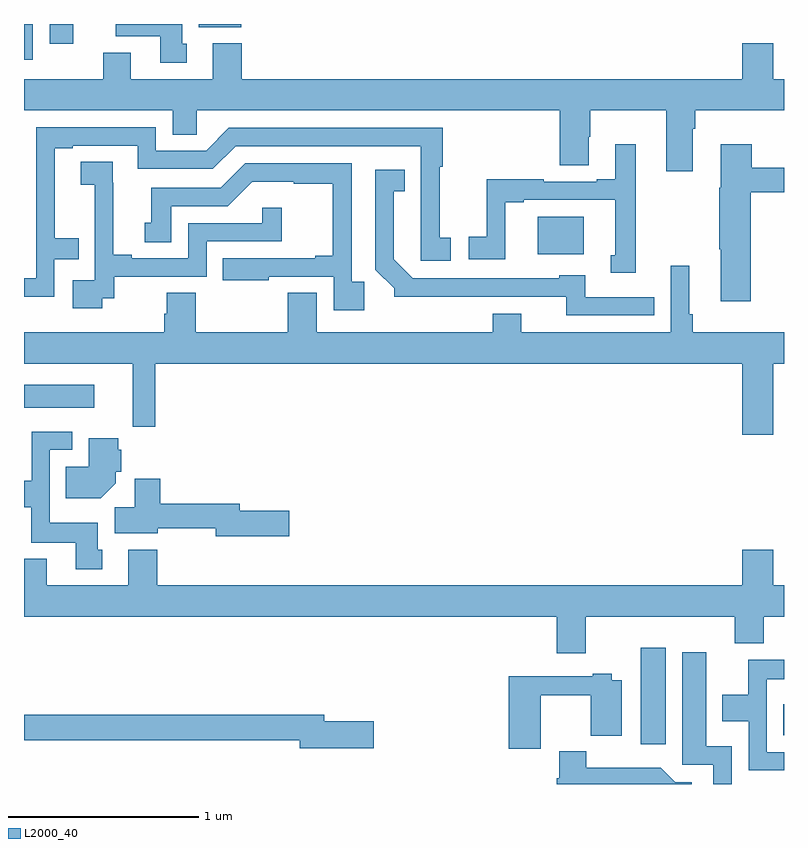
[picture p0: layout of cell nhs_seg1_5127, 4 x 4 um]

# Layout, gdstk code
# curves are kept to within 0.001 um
import gdstk
lib = gdstk.Library(unit=1e-6, precision=1e-09)
def R(c, l, rs):  # rectangles x0, y0, x1, y1
    for r in rs: c.add(gdstk.rectangle(r[:2], r[2:], *l))
def P(c, l, *ps):  # polygons
    for p in ps: c.add(gdstk.Polygon(p, *l))
L2000_40 = (2000, 40)

nhs_seg1_5127 = lib.new_cell('nhs_seg1_5127')
R(nhs_seg1_5127, L2000_40, [(392.246,536.409,392.377,536.917), (392.995,536.456,393,536.62), (389,538.178,389.371,538.3), (391.703,538.988,391.945,539.185), (389,540.012,389.047,540.199), (389.135,540.096,389.26,540.199), (389.921,540.182,390.144,540.199)])
P(nhs_seg1_5127, L2000_40, [(389.857,540.096),(389.833,540.096),(389.833,540.199),(389.482,540.199),(389.482,540.134),(389.717,540.134),(389.717,539.994),(389.857,539.994)],
  [(392.521,539.648),(392.534,539.648),(392.534,539.744),(393,539.744),(393,539.908),(392.944,539.908),(392.944,540.097),(392.78,540.097),(392.78,539.908),(390.146,539.908),(390.146,540.097),(389.993,540.097),(389.993,539.908),(389.563,539.908),(389.563,540.049),(389.416,540.049),(389.416,539.908),(389,539.908),(389,539.744),(389.783,539.744),(389.783,539.617),(389.91,539.617),(389.91,539.744),(391.82,539.744),(391.82,539.455),(391.972,539.455),(391.972,539.606),(391.98,539.606),(391.98,539.744),(392.381,539.744),(392.381,539.424),(392.521,539.424)],
  [(389.16,538.962),(389.288,538.962),(389.288,539.071),(389.161,539.071),(389.161,539.544),(389.257,539.544),(389.257,539.559),(389.598,539.559),(389.598,539.436),(389.994,539.436),(390.114,539.556),(391.089,539.556),(391.088,538.953),(391.246,538.953),(391.246,539.073),(391.188,539.073),(391.188,539.449),(391.205,539.449),(391.205,539.652),(390.078,539.652),(389.958,539.532),(389.694,539.532),(389.694,539.655),(389.064,539.655),(389.064,538.86),(389,538.86),(389,538.764),(389.16,538.764)],
  [(392.825,539.314),(393,539.314),(393,539.443),(392.83,539.443),(392.83,539.566),(392.666,539.566),(392.666,539.337),(392.659,539.337),(392.659,539.014),(392.666,539.014),(392.666,538.74),(392.825,538.74)],
  [(392.221,539.566),(392.111,539.566),(392.111,539.383),(392.015,539.383),(392.015,539.37),(391.736,539.37),(391.736,539.383),(391.435,539.383),(391.435,539.078),(391.341,539.078),(391.341,538.962),(391.534,538.962),(391.534,539.262),(391.63,539.262),(391.63,539.274),(392.111,539.274),(392.111,538.983),(392.087,538.983),(392.087,538.889),(392.221,538.889)],
  [(389.412,538.755),(389.474,538.755),(389.474,538.869),(389.961,538.869),(389.961,539.055),(390.356,539.055),(390.356,539.233),(390.255,539.233),(390.255,539.151),(389.865,539.151),(389.865,538.965),(389.566,538.965),(389.566,538.985),(389.47,538.985),(389.47,539.363),(389.468,539.363),(389.468,539.474),(389.298,539.474),(389.298,539.353),(389.372,539.353),(389.372,539.155),(389.373,539.155),(389.373,538.851),(389.256,538.851),(389.256,538.704),(389.412,538.704)],
  [(390.791,538.843),(390.726,538.843),(390.726,539.466),(390.165,539.466),(390.036,539.337),(389.669,539.337),(389.669,539.154),(389.636,539.154),(389.636,539.05),(389.776,539.05),(389.776,539.241),(390.072,539.241),(390.2,539.369),(390.419,539.369),(390.419,539.358),(390.625,539.358),(390.625,538.978),(390.533,538.978),(390.533,538.965),(390.046,538.965),(390.046,538.85),(390.289,538.85),(390.289,538.869),(390.63,538.869),(390.63,538.692),(390.791,538.692)],
  [(392.318,538.761),(391.954,538.761),(391.954,538.876),(391.818,538.876),(391.818,538.86),(391.047,538.86),(390.946,538.961),(390.946,539.318),(391.004,539.318),(391.004,539.431),(390.849,539.431),(390.849,538.906),(390.948,538.807),(390.948,538.763),(391.855,538.764),(391.855,538.665),(392.318,538.665)],
  [(392.944,538.412),(393,538.412),(393,538.576),(392.519,538.576),(392.519,538.672),(392.5,538.672),(392.5,538.927),(392.403,538.927),(392.403,538.576),(391.618,538.576),(391.618,538.675),(391.466,538.675),(391.466,538.576),(390.541,538.576),(390.541,538.784),(390.389,538.784),(390.389,538.576),(389.903,538.576),(389.903,538.784),(389.75,538.784),(389.75,538.674),(389.738,538.674),(389.738,538.576),(389,538.576),(389,538.412),(389.573,538.412),(389.573,538.08),(389.69,538.08),(389.69,538.412),(392.78,538.412),(392.78,538.038),(392.944,538.038)],
  [(389.413,537.432),(389.389,537.432),(389.389,537.574),(389.136,537.574),(389.136,537.957),(389.254,537.957),(389.254,538.053),(389.04,538.053),(389.04,537.796),(389,537.796),(389,537.656),(389.038,537.656),(389.038,537.47),(389.273,537.47),(389.273,537.33),(389.413,537.33)],
  [(389.482,537.782),(389.482,537.843),(389.511,537.843),(389.511,537.957),(389.495,537.957),(389.495,538.018),(389.342,538.018),(389.342,537.868),(389.221,537.868),(389.221,537.704),(389.404,537.704)],
  [(390.397,537.638),(390.136,537.638),(390.136,537.674),(389.717,537.674),(389.717,537.805),(389.583,537.805),(389.583,537.656),(389.477,537.656),(389.477,537.518),(389.704,537.518),(389.704,537.546),(390.008,537.546),(390.008,537.503),(390.397,537.503)],
  [(389.702,537.433),(389.549,537.433),(389.549,537.244),(389.119,537.244),(389.119,537.385),(389,537.385),(389,537.08),(391.805,537.08),(391.805,536.886),(391.957,536.886),(391.957,537.08),(392.741,537.08),(392.741,536.939),(392.893,536.939),(392.893,537.08),(393,537.08),(393,537.244),(392.944,537.244),(392.944,537.433),(392.78,537.433),(392.78,537.244),(389.702,537.244)],
  [(392.724,536.398),(392.59,536.398),(392.59,536.893),(392.465,536.893),(392.465,536.301),(392.628,536.301),(392.628,536.199),(392.724,536.199)],
  [(393,536.367),(392.91,536.367),(392.91,536.75),(393,536.75),(393,536.854),(392.812,536.854),(392.812,536.668),(392.675,536.668),(392.675,536.528),(392.814,536.528),(392.814,536.271),(393,536.271)],
  [(391.72,536.665),(391.984,536.665),(391.984,536.453),(392.146,536.453),(392.146,536.746),(392.094,536.746),(392.094,536.779),(391.994,536.779),(391.994,536.766),(391.55,536.766),(391.55,536.385),(391.72,536.385)],
  [(390.841,536.528),(390.58,536.528),(390.58,536.564),(389,536.564),(389,536.428),(390.452,536.428),(390.452,536.386),(390.841,536.386)],
  [(392.515,536.208),(392.427,536.208),(392.351,536.284),(391.96,536.284),(391.96,536.371),(391.817,536.371),(391.817,536.229),(391.805,536.229),(391.805,536.199),(392.515,536.199)])

lib.write_gds('nhs_seg1_5127.gds')
